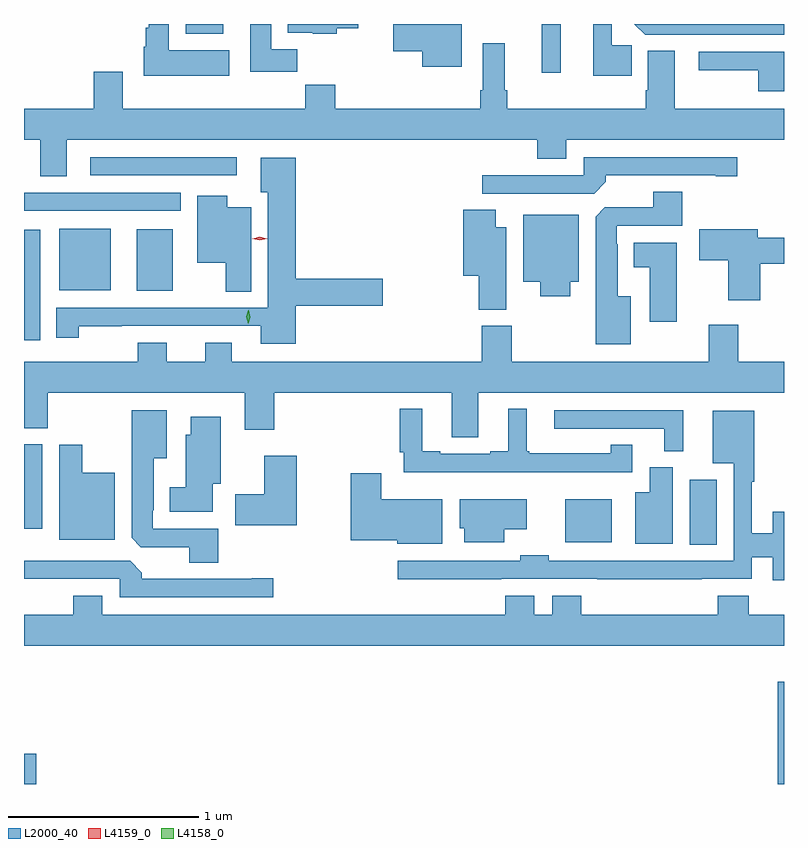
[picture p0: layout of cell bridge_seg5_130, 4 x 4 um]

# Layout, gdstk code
import gdstk
lib = gdstk.Library(unit=1e-6, precision=1e-09)
def R(c, l, rs):  # rectangles x0, y0, x1, y1
    for r in rs: c.add(gdstk.rectangle(r[:2], r[2:], *l))
def P(c, l, *ps):  # polygons
    for p in ps: c.add(gdstk.Polygon(p, *l))
L2000_40 = (2000, 40)
L4158_0 = (4158, 0)
L4159_0 = (4159, 0)

bridge_seg5_130 = lib.new_cell('bridge_seg5_130')
R(bridge_seg5_130, L2000_40, [(417.591,888.001,417.655,888.16), (421.558,888.001,421.591,888.54), (421.094,889.261,421.237,889.603), (420.44,889.274,420.685,889.501), (417.591,889.344,417.688,889.788), (417.591,890.336,417.676,890.917), (418.184,890.597,418.375,890.92), (417.776,890.6,418.048,890.923), (417.591,891.018,418.417,891.114), (417.939,891.204,418.711,891.3), (420.317,891.744,420.415,892.001), (418.443,891.95,418.639,892.001)])
P(bridge_seg5_130, L2000_40, [(420.79,891.889),(420.684,891.889),(420.684,892.001),(420.588,892.001),(420.588,891.728),(420.79,891.728)],
  [(421.591,892.001),(420.804,892.001),(420.86,891.945),(421.591,891.945)],
  [(419.896,892.001),(419.534,892.001),(419.534,891.857),(419.687,891.857),(419.687,891.776),(419.896,891.776)],
  [(418.672,891.862),(418.354,891.862),(418.354,892.001),(418.247,892.001),(418.247,891.982),(418.232,891.982),(418.232,891.882),(418.22,891.882),(418.22,891.728),(418.672,891.728)],
  [(419.238,891.979),(419.35,891.979),(419.35,892.001),(418.979,892.001),(418.979,891.956),(419.112,891.956),(419.112,891.95),(419.238,891.95)],
  [(419.03,891.868),(418.891,891.868),(418.891,892.001),(418.781,892.001),(418.781,891.75),(419.03,891.75)],
  [(417.817,891.392),(420.293,891.392),(420.293,891.293),(420.445,891.293),(420.445,891.392),(421.591,891.392),(421.591,891.556),(421.015,891.556),(421.015,891.86),(420.875,891.86),(420.875,891.652),(420.863,891.652),(420.863,891.556),(420.134,891.556),(420.134,891.652),(420.121,891.652),(420.121,891.901),(420.005,891.901),(420.005,891.652),(419.993,891.652),(419.993,891.556),(419.228,891.556),(419.228,891.68),(419.071,891.68),(419.071,891.556),(418.111,891.556),(418.111,891.751),(417.959,891.751),(417.959,891.556),(417.591,891.556),(417.591,891.392),(417.677,891.392),(417.677,891.199),(417.817,891.199)],
  [(421.591,891.855),(421.143,891.855),(421.143,891.758),(421.456,891.758),(421.456,891.648),(421.591,891.648)],
  [(420.653,891.17),(420.653,891.204),(421.232,891.204),(421.232,891.199),(421.345,891.199),(421.345,891.3),(420.537,891.3),(420.537,891.204),(420.003,891.204),(420.003,891.108),(420.591,891.108)],
  [(419.021,890.518),(419.479,890.518),(419.479,890.66),(419.021,890.66),(419.021,891.298),(418.838,891.298),(418.838,891.116),(418.874,891.116),(418.874,890.508),(417.761,890.508),(417.761,890.349),(417.879,890.349),(417.879,890.411),(418.106,890.411),(418.106,890.412),(418.838,890.412),(418.838,890.318),(419.021,890.318)],
  [(420.784,890.569),(420.715,890.569),(420.715,890.843),(420.711,890.843),(420.711,890.94),(421.055,890.94),(421.055,891.119),(420.902,891.119),(420.902,891.036),(420.648,891.036),(420.599,890.987),(420.599,890.315),(420.784,890.315)],
  [(418.786,891.037),(418.66,891.037),(418.66,891.097),(418.502,891.097),(418.502,890.744),(418.652,890.744),(418.652,890.593),(418.786,890.593)],
  [(420.13,890.932),(420.073,890.932),(420.073,891.023),(419.903,891.023),(419.903,890.675),(419.984,890.675),(419.984,890.497),(420.13,890.497)],
  [(420.466,890.645),(420.511,890.645),(420.511,890.998),(420.218,890.998),(420.218,890.645),(420.308,890.645),(420.308,890.567),(420.466,890.567)],
  [(421.466,890.74),(421.591,890.74),(421.591,890.876),(421.453,890.876),(421.453,890.92),(421.146,890.92),(421.146,890.758),(421.298,890.758),(421.298,890.547),(421.466,890.547)],
  [(421.027,890.851),(420.8,890.851),(420.8,890.72),(420.884,890.72),(420.884,890.433),(421.027,890.433)],
  [(417.591,889.873),(417.717,889.873),(417.717,890.06),(418.754,890.06),(418.754,889.866),(418.907,889.866),(418.907,890.06),(419.843,890.06),(419.843,889.825),(419.983,889.825),(419.983,890.06),(421.591,890.06),(421.591,890.224),(421.349,890.224),(421.349,890.419),(421.196,890.419),(421.196,890.224),(420.159,890.224),(420.159,890.412),(419.999,890.412),(419.999,890.224),(418.684,890.224),(418.684,890.323),(418.544,890.323),(418.544,890.224),(418.342,890.224),(418.342,890.323),(418.19,890.323),(418.19,890.224),(417.591,890.224)],
  [(420.793,889.787),(420.68,889.787),(420.68,889.741),(420.25,889.741),(420.25,889.753),(420.238,889.753),(420.238,889.975),(420.14,889.975),(420.14,889.753),(420.044,889.753),(420.044,889.74),(419.782,889.74),(419.782,889.753),(419.686,889.753),(419.686,889.975),(419.569,889.975),(419.569,889.747),(419.589,889.747),(419.589,889.643),(420.793,889.643)],
  [(418.613,889.344),(418.269,889.344),(418.269,889.441),(418.273,889.441),(418.273,889.715),(418.342,889.715),(418.342,889.969),(418.157,889.969),(418.157,889.297),(418.206,889.248),(418.46,889.248),(418.46,889.165),(418.613,889.165)],
  [(421.06,889.968),(420.381,889.968),(420.381,889.872),(420.962,889.872),(420.962,889.753),(421.06,889.753)],
  [(421.591,889.435),(421.532,889.435),(421.532,889.322),(421.422,889.322),(421.422,889.592),(421.435,889.592),(421.435,889.966),(421.217,889.966),(421.217,889.688),(421.326,889.688),(421.326,889.176),(420.354,889.176),(420.354,889.204),(420.204,889.204),(420.204,889.176),(419.559,889.176),(419.559,889.079),(420.104,889.079),(420.104,889.08),(420.607,889.08),(420.607,889.079),(421.157,889.079),(421.157,889.08),(421.422,889.08),(421.422,889.194),(421.532,889.194),(421.532,889.074),(421.591,889.074)],
  [(418.585,889.58),(418.627,889.58),(418.627,889.933),(418.469,889.933),(418.469,889.839),(418.442,889.839),(418.442,889.564),(418.358,889.564),(418.358,889.433),(418.585,889.433)],
  [(418.069,889.639),(417.898,889.639),(417.898,889.786),(417.776,889.786),(417.776,889.286),(418.069,889.286)],
  [(419.026,889.729),(418.856,889.729),(418.856,889.527),(418.704,889.527),(418.704,889.364),(419.026,889.364)],
  [(421.006,889.668),(420.884,889.668),(420.884,889.537),(420.809,889.537),(420.809,889.265),(421.006,889.265)],
  [(419.791,889.501),(419.47,889.501),(419.47,889.636),(419.312,889.636),(419.312,889.283),(419.556,889.283),(419.556,889.265),(419.791,889.265)],
  [(420.118,889.343),(420.238,889.343),(420.238,889.501),(419.885,889.501),(419.885,889.347),(419.909,889.347),(419.909,889.274),(420.118,889.274)],
  [(418.903,889.085),(418.79,889.085),(418.79,889.08),(418.211,889.08),(418.211,889.114),(418.149,889.176),(417.591,889.176),(417.591,889.08),(418.095,889.08),(418.095,888.984),(418.903,888.984)],
  [(421.591,888.892),(421.406,888.892),(421.406,888.991),(421.241,888.991),(421.241,888.892),(420.524,888.892),(420.524,888.991),(420.371,888.991),(420.371,888.892),(420.277,888.892),(420.277,888.991),(420.125,888.991),(420.125,888.892),(418.003,888.892),(418.003,888.991),(417.851,888.991),(417.851,888.892),(417.591,888.892),(417.591,888.728),(421.591,888.728)])
P(bridge_seg5_130, L4158_0, [(418.77,890.423),(418.762,890.459),(418.772,890.494),(418.772,890.495),(418.773,890.494),(418.782,890.458),(418.771,890.423),(418.771,890.423)])
P(bridge_seg5_130, L4159_0, [(418.831,890.862),(418.792,890.872),(418.792,890.872),(418.792,890.872),(418.831,890.882),(418.87,890.872),(418.87,890.872),(418.87,890.872)])

lib.write_gds('bridge_seg5_130.gds')
